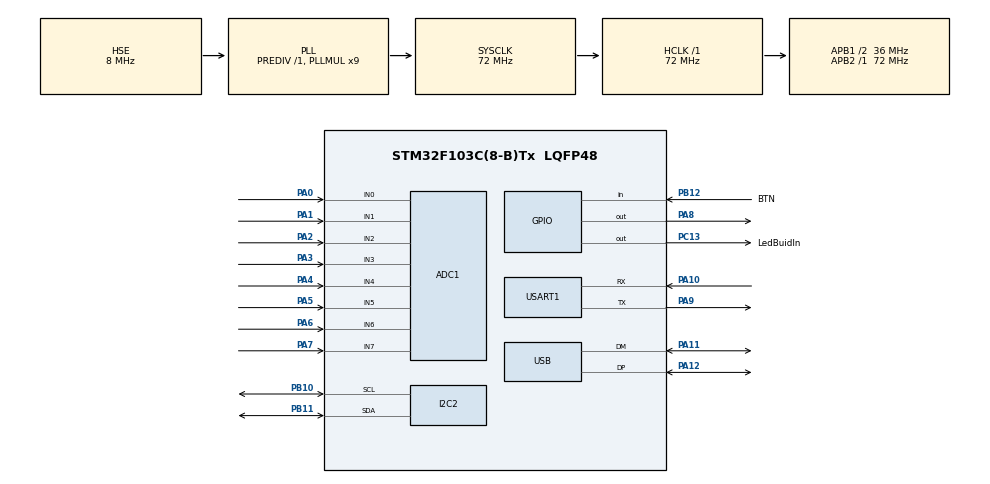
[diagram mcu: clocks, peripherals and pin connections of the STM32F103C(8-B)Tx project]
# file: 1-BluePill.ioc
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ADC1.Channel-0\#ChannelRegularConversion=ADC_CHANNEL_0
ADC1.Channel-1\#ChannelRegularConversion=ADC_CHANNEL_1
ADC1.Channel-2\#ChannelRegularConversion=ADC_CHANNEL_2
ADC1.Channel-3\#ChannelRegularConversion=ADC_CHANNEL_3
ADC1.Channel-4\#ChannelRegularConversion=ADC_CHANNEL_4
ADC1.Channel-5\#ChannelRegularConversion=ADC_CHANNEL_5
ADC1.Channel-6\#ChannelRegularConversion=ADC_CHANNEL_6
ADC1.Channel-7\#ChannelRegularConversion=ADC_CHANNEL_7
ADC1.NbrOfConversion=8
ADC1.NbrOfConversionFlag=1
ADC1.Rank-0\#ChannelRegularConversion=1
ADC1.Rank-1\#ChannelRegularConversion=2
ADC1.Rank-2\#ChannelRegularConversion=3
ADC1.Rank-3\#ChannelRegularConversion=4
ADC1.Rank-4\#ChannelRegularConversion=5
ADC1.Rank-5\#ChannelRegularConversion=6
ADC1.Rank-6\#ChannelRegularConversion=7
ADC1.Rank-7\#ChannelRegularConversion=8
ADC1.SamplingTime-0\#ChannelRegularConversion=ADC_SAMPLETIME_13CYCLES_5
ADC1.SamplingTime-1\#ChannelRegularConversion=ADC_SAMPLETIME_13CYCLES_5
ADC1.SamplingTime-2\#ChannelRegularConversion=ADC_SAMPLETIME_13CYCLES_5
ADC1.SamplingTime-3\#ChannelRegularConversion=ADC_SAMPLETIME_13CYCLES_5
ADC1.SamplingTime-4\#ChannelRegularConversion=ADC_SAMPLETIME_13CYCLES_5
ADC1.SamplingTime-5\#ChannelRegularConversion=ADC_SAMPLETIME_13CYCLES_5
ADC1.SamplingTime-6\#ChannelRegularConversion=ADC_SAMPLETIME_13CYCLES_5
ADC1.SamplingTime-7\#ChannelRegularConversion=ADC_SAMPLETIME_13CYCLES_5
ADC1.master=1
Dma.ADC1.0.Direction=DMA_PERIPH_TO_MEMORY
Dma.ADC1.0.Instance=DMA1_Channel1
Dma.ADC1.0.MemDataAlignment=DMA_MDATAALIGN_HALFWORD
Dma.ADC1.0.MemInc=DMA_MINC_ENABLE
Dma.ADC1.0.Mode=DMA_NORMAL
Dma.ADC1.0.PeriphDataAlignment=DMA_PDATAALIGN_HALFWORD
Dma.ADC1.0.PeriphInc=DMA_PINC_DISABLE
Dma.ADC1.0.Priority=DMA_PRIORITY_LOW
Dma.Request0=ADC1
Mcu.Family=STM32F1
Mcu.Name=STM32F103C(8-B)Tx
Mcu.Package=LQFP48
NVIC.DMA1_Channel1_IRQn=true\:0\:0\:false\:false\:true\:false\:true\:true
NVIC.PriorityGroup=NVIC_PRIORITYGROUP_4
NVIC.TIM1_UP_IRQn=true\:0\:0\:false\:false\:true\:true\:true\:true
NVIC.USART1_IRQn=true\:0\:0\:false\:false\:true\:true\:true\:true
NVIC.USB_LP_CAN1_RX0_IRQn=true\:0\:0\:false\:false\:true\:false\:true\:true
PA0-WKUP.Signal=ADCx_IN0
PA1.Signal=ADCx_IN1
PA10.Mode=Asynchronous
PA10.Signal=USART1_RX
PA11.Mode=Device
PA11.Signal=USB_DM
PA12.Mode=Device
PA12.Signal=USB_DP
PA13.Mode=Serial_Wire
PA13.Signal=SYS_JTMS-SWDIO
PA14.Mode=Serial_Wire
PA14.Signal=SYS_JTCK-SWCLK
PA2.Signal=ADCx_IN2
PA3.Signal=ADCx_IN3
PA4.Signal=ADCx_IN4
PA5.Signal=ADCx_IN5
PA6.Signal=ADCx_IN6
PA7.Signal=ADCx_IN7
PA8.Signal=GPIO_Output
PA9.Mode=Asynchronous
PA9.Signal=USART1_TX
PB10.Mode=I2C
PB10.Signal=I2C2_SCL
PB11.Mode=I2C
PB11.Signal=I2C2_SDA
PB12.GPIO_Label=BTN
PB12.GPIO_PuPd=GPIO_PULLUP
PB12.Signal=GPIO_Input
PB6.Signal=S_TIM4_CH1
PB7.Signal=S_TIM4_CH2
PB8.Signal=S_TIM4_CH3
PB9.Signal=S_TIM4_CH4
PC13-TAMPER-RTC.GPIO_Label=LedBuidIn
PC13-TAMPER-RTC.PinState=GPIO_PIN_SET
PC13-TAMPER-RTC.Signal=GPIO_Output
PC14-OSC32_IN.Mode=LSE-External-Oscillator
PC14-OSC32_IN.Signal=RCC_OSC32_IN
PC15-OSC32_OUT.Mode=LSE-External-Oscillator
PC15-OSC32_OUT.Signal=RCC_OSC32_OUT
PD0-OSC_IN.Mode=HSE-External-Oscillator
PD0-OSC_IN.Signal=RCC_OSC_IN
PD1-OSC_OUT.Mode=HSE-External-Oscillator
PD1-OSC_OUT.Signal=RCC_OSC_OUT
ProjectManager.HeapSize=0x200
ProjectManager.StackSize=0x400
ProjectManager.TargetToolchain=STM32CubeIDE
RCC.ADCPresc=RCC_ADCPCLK2_DIV6
RCC.AHBFreq_Value=72000000
RCC.APB1CLKDivider=RCC_HCLK_DIV2
RCC.APB1Freq_Value=36000000
RCC.APB1TimFreq_Value=72000000
RCC.APB2Freq_Value=72000000
RCC.APB2TimFreq_Value=72000000
RCC.HCLKFreq_Value=72000000
RCC.PLLMUL=RCC_PLL_MUL9
RCC.PLLSourceVirtual=RCC_PLLSOURCE_HSE
RCC.SYSCLKFreq_VALUE=72000000
RCC.SYSCLKSource=RCC_SYSCLKSOURCE_PLLCLK
RCC.USBFreq_Value=48000000
RCC.USBPrescaler=RCC_USBCLKSOURCE_PLL_DIV1_5
SH.ADCx_IN0.0=ADC1_IN0,IN0
SH.ADCx_IN1.0=ADC1_IN1,IN1
SH.ADCx_IN2.0=ADC1_IN2,IN2
SH.ADCx_IN3.0=ADC1_IN3,IN3
SH.ADCx_IN4.0=ADC1_IN4,IN4
SH.ADCx_IN5.0=ADC1_IN5,IN5
SH.ADCx_IN6.0=ADC1_IN6,IN6
SH.ADCx_IN7.0=ADC1_IN7,IN7
SH.S_TIM4_CH1.0=TIM4_CH1
SH.S_TIM4_CH2.0=TIM4_CH2
SH.S_TIM4_CH3.0=TIM4_CH3
SH.S_TIM4_CH4.0=TIM4_CH4
TIM1.Period=249
TIM1.Prescaler=71
TIM4.Period=12800
TIM4.Prescaler=4
USART1.VirtualMode=VM_ASYNC
USB_DEVICE.APP_RX_DATA_SIZE=256
USB_DEVICE.APP_TX_DATA_SIZE=256
USB_DEVICE.CLASS_NAME_FS=CDC
USB_DEVICE.PID_CDC_FS=0x5740
USB_DEVICE.VirtualMode=Cdc
USB_DEVICE.VirtualModeFS=Cdc_FS
VP_TIM1_VS_ClockSourceINT.Mode=Internal
VP_TIM4_VS_ClockSourceINT.Mode=Internal
VP_USB_DEVICE_VS_USB_DEVICE_CDC_FS.Mode=CDC_FS
board=custom

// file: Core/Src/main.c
/* USER CODE BEGIN Header */
/**
  ******************************************************************************
  * @file           : main.c
  * @brief          : Main program body
  ******************************************************************************
  * @attention
  *
  * Copyright (c) 2024 STMicroelectronics.
  * All rights reserved.
  *
  * This software is licensed under terms that can be found in the LICENSE file
  * in the root directory of this software component.
  * If no LICENSE file comes with this software, it is provided AS-IS.
  *
  ******************************************************************************
  */
/* USER CODE END Header */
#include "main.h"
#include "usb_device.h"

/* USER CODE BEGIN Includes */
#include "usbd_cdc_if.h"
/* USER CODE END Includes */

/* USER CODE BEGIN PTD */
typedef enum{
    START,
    HEADER_1,
    HEADER_2,
    HEADER_3,
    NBYTES,
    TOKEN,
    PAYLOAD
}_eProtocolo;

_eProtocolo estadoProtocolo;

typedef enum{
       ACK=0x0D,
       ALIVE=0xF0,
//       FIRMWARE=0xF1,
//       SET_LEDS=0xF2,
       IR_SENSOR=0xA0,
//       MOTOR_ACTION=0xA1,
//       SERVO_ACTION=0xA2,
//       ULTRA_SONIC=0xA3,
//       HORQUILLA=0xA4,
//       STARTCONFIG=0xEE,
       OTHERS
   }_eID;

typedef struct{
    uint8_t timeOut;         //!< TiemOut para reiniciar la máquina si se interrumpe la comunicación
    uint8_t indexStart; 	 ///////////////////// AGREGAR ///////////////////////////////////
    uint8_t cheksumRx;       //!< Cheksumm RX
    uint8_t cheksumtx;       //!< Cheksumm Tx
    uint8_t indexWriteRx;    //!< Indice de escritura del buffer circular de recepción
    uint8_t indexReadRx;     //!< Indice de lectura del buffer circular de recepción
    uint8_t indexWriteTx;    //!< Indice de escritura del buffer circular de transmisión
    uint8_t indexReadTx;     //!< Indice de lectura del buffer circular de transmisión
    uint8_t bufferRx[256];   //!< Buffer circular de recepción
    uint8_t bufferTx[256];   //!< Buffer circular de transmisión
    // uint8_t payload[32];     //!< Buffer para el Payload de datos recibidos
}_sDato ;

_sDato datosComProtocol;

typedef struct {
	uint8_t F250US: 1;
    uint8_t F10MS: 	1;
    uint8_t F100MS:	1;
    uint8_t F500MS:	1;
    uint8_t F1SEG: 	1;
    uint8_t bit5: 	1;
    uint8_t bit6: 	1;
    uint8_t bit7: 	1;
}_sFlags1;

_sFlags1 flags1;

typedef struct{
	uint8_t		count;
	uint16_t 	sensor0[256];
	uint16_t 	sensor1[256];
	uint16_t 	sensor2[256];
	uint16_t 	sensor3[256];
	uint16_t 	sensor4[256];
	uint16_t 	sensor5[256];
	uint16_t 	sensor6[256];
	uint16_t 	sensor7[256];
	uint32_t 	sumatoriaS0;
	uint32_t 	sumatoriaS1;
	uint32_t 	sumatoriaS2;
	uint32_t 	sumatoriaS3;
	uint32_t 	sumatoriaS4;
	uint32_t 	sumatoriaS5;
	uint32_t 	sumatoriaS6;
	uint32_t 	sumatoriaS7;
	uint16_t	promS0;
	uint16_t	promS1;
	uint16_t	promS2;
	uint16_t	promS3;
	uint16_t	promS4;
	uint16_t	promS5;
	uint16_t	promS6;
	uint16_t	promS7;
}_sIR;

_sIR ir;	//genero un array de mi struct para tener un historial ciclico de lecturas del censor IR

typedef union {
    int32_t i32;
    uint32_t ui32;
    uint16_t ui16[2];
    uint8_t ui8[4];
}_udat;

_udat myWord;

/* USER CODE END PTD */

/* USER CODE BEGIN PD */
#define TIME10ms		40
#define TIME100ms		10
#define TIME500ms		50

/* USER CODE END PD */

ADC_HandleTypeDef hadc1;
DMA_HandleTypeDef hdma_adc1;

I2C_HandleTypeDef hi2c2;

TIM_HandleTypeDef htim1;
TIM_HandleTypeDef htim4;

UART_HandleTypeDef huart1;

/* USER CODE BEGIN PV */
	uint8_t BTNstatus	= 0;
	uint8_t BTNcount	= 0;
	uint8_t t10ms	= TIME10ms;
	uint8_t t100ms 	= TIME100ms;
	uint8_t t500ms 	= TIME500ms;
	uint8_t	t1seg	= 100;
	uint8_t lastIR 	= 0;

//	uint8_t rx[256],ir,iw;

	uint8_t rxUSBData, newData;

	uint16_t bufADC[8];

	const uint32_t varEEPROM __attribute__((__section__(".configeeprom"), used));

	/*Pasos:
	 * 1. Hacer un HAL_FLASH_Unlock();
	 * 2. Configurar la estructura de Erase
	 * 3. Ejecutar HALL_FLASH_Erase
	 * 4. Pasar toda la info con HAL_FLASH_Program
	 * 5. Hacer un HAL_FLASH_Lock();
	 * */
/* USER CODE END PV */

void SystemClock_Config(void);
static void MX_GPIO_Init(void);
static void MX_DMA_Init(void);
static void MX_USART1_UART_Init(void);
static void MX_ADC1_Init(void);
static void MX_I2C2_Init(void);
static void MX_TIM4_Init(void);
static void MX_TIM1_Init(void);
/* USER CODE BEGIN PFP */
void onDataRx(void);
void decodeProtocol(_sDato *);
void decodeData(_sDato *);
void encodeData(uint8_t id);
void sendData(void);

void USBReceive(uint8_t *but, uint16_t len);

/* USER CODE END PFP */

/* USER CODE BEGIN 0 */

void HAL_ADC_ConvCpltCallback(ADC_HandleTypeDef* hadc){
//	HAL_ADC_GetValue(hadc);
	//Guarda en un Buffer los estados anteriores del IR
	ir.sensor0[ir.count] = bufADC[0];
	ir.sensor1[ir.count] = bufADC[1];
	ir.sensor2[ir.count] = bufADC[2];
	ir.sensor3[ir.count] = bufADC[3];
	ir.sensor4[ir.count] = bufADC[4];
	ir.sensor5[ir.count] = bufADC[5];
	ir.sensor6[ir.count] = bufADC[6];
	ir.sensor7[ir.count] = bufADC[7];

	//Acumulador de la Sumatoria del Promedio Movil
	ir.sumatoriaS0 += bufADC[0];
	ir.sumatoriaS1 += bufADC[1];
	ir.sumatoriaS2 += bufADC[2];
	ir.sumatoriaS3 += bufADC[3];
	ir.sumatoriaS4 += bufADC[4];
	ir.sumatoriaS5 += bufADC[5];
	ir.sumatoriaS6 += bufADC[6];
	ir.sumatoriaS7 += bufADC[7];

	//Resta el valor que queda fuera de la ventana del Promedio
	myWord.ui8[0]= ir.count - 39;	//Aux del indice Inferior de la ventana

	ir.sumatoriaS0 -= ir.sensor0[myWord.ui8[0]];
	ir.sumatoriaS1 -= ir.sensor1[myWord.ui8[0]];
	ir.sumatoriaS2 -= ir.sensor2[myWord.ui8[0]];
	ir.sumatoriaS3 -= ir.sensor3[myWord.ui8[0]];
	ir.sumatoriaS4 -= ir.sensor4[myWord.ui8[0]];
	ir.sumatoriaS5 -= ir.sensor5[myWord.ui8[0]];
	ir.sumatoriaS6 -= ir.sensor6[myWord.ui8[0]];
	ir.sumatoriaS7 -= ir.sensor7[myWord.ui8[0]];

	ir.count++;
//	ir.sensor0[lastIR] = bufADC[0];//buffer circular para la lectura de datos de los sensores IR
//	ir.sensor1[lastIR] = bufADC[1];
//	ir.sensor2[lastIR] = bufADC[2];
//	ir.sensor3[lastIR] = bufADC[3];
//	ir.sensor4[lastIR] = bufADC[4];
//	ir.sensor5[lastIR] = bufADC[5];
//	ir.sensor6[lastIR] = bufADC[6];
//	ir.sensor7[lastIR] = bufADC[7];
//	if (lastIR == 63){
//		lastIR = 0;
//	}else{
//		lastIR++;
//	}

}

void HAL_TIM_PeriodElapsedCallback(TIM_HandleTypeDef *htim){
	if (htim ->Instance == TIM1) {	//Entra cada 250us, 1ms= x4, 10ms= x40, 100ms= x400
		flags1.F250US = 1;

		t10ms--;

		if(t10ms == 0){
			flags1.F10MS = 1;
			t10ms = TIME10ms;

			t100ms--;
			t500ms--;
			t1seg--;
		}

		if(t100ms == 0){
			flags1.F100MS = 1;
			t100ms = TIME100ms;
		}

		if(t500ms == 0){
			flags1.F500MS = 1;
			t500ms = TIME500ms;
		}

		if (t1seg == 0) {
			flags1.F1SEG = 1;
			t1seg = 100;
		}

	}
}

/*=============>Recepción de datos desde USART<=============
 * Interrupción que es llamada cuando se produce una recepción de datos.
 * Cargo los datos recibidos al Buffer de Recepción
 * */
void HAL_UART_RxCpltCallback(UART_HandleTypeDef *huart){
	if(huart ->Instance == USART1){
//		iw++;
		HAL_UART_Receive_IT(&huart1, &datosComProtocol.bufferRx[datosComProtocol.indexWriteRx++], 1);
		//HAL_UART_Receive_IT(&huart1, &rx[iw], 1);
	}
}

void USBReceive(uint8_t *buf, uint16_t len){
//	rxUSBData = buf[0];
//	rxUSBData = len;
//	newData = 1;
	for (int i = 0; i < len; ++i) {
		datosComProtocol.bufferRx[datosComProtocol.indexWriteRx] = buf[i];
	}

}

/*'<' header
//byte1
//byte2
//byte3
//byte4
//checksum = suma de todos los bytes transmitidos
//'>' tail

//  4      1      1    1    N     1
//HEADER NBYTES TOKEN ID PAYLOAD CKS

//HEADER 4 bytes
//'U' 'N' 'E' 'R'

//NBYTES = ID+PAYLOAD+CKS = 2 + nbytes de payload

//TOKEN: ':'

//CKS: xor de todos los bytes enviados menos el CKS
*/
void decodeProtocol(_sDato *datosCom){
	static uint8_t nBytes = 0;
	while (datosCom->indexReadRx != datosCom->indexWriteRx){
		switch (estadoProtocolo){
		case START:
			if (datosCom->bufferRx[datosCom->indexReadRx++]=='U') {
				estadoProtocolo = HEADER_1;
				datosCom->cheksumRx = 0;
			}
			break;
		case HEADER_1:
			if (datosCom->bufferRx[datosCom->indexReadRx++]=='N')
			   {
				   estadoProtocolo=HEADER_2;
			   }
			else{
				datosCom->indexReadRx--;
				estadoProtocolo=START;
			}
			break;
		case HEADER_2:
			if (datosCom->bufferRx[datosCom->indexReadRx++]=='E')
			{
				estadoProtocolo=HEADER_3;
			}
			else{
				datosCom->indexReadRx--;
			   estadoProtocolo=START;
			}
			break;
		case HEADER_3:
			if (datosCom->bufferRx[datosCom->indexReadRx++]=='R')
				{
					estadoProtocolo=NBYTES;
				}
			else{
				datosCom->indexReadRx--;
			   estadoProtocolo=START;
			}
			break;
		case NBYTES:
			datosCom->indexStart=datosCom->indexReadRx;
			nBytes=datosCom->bufferRx[datosCom->indexReadRx++];
			estadoProtocolo=TOKEN;
			break;
		case TOKEN:
			if (datosCom->bufferRx[datosCom->indexReadRx++]==':'){
			   estadoProtocolo=PAYLOAD;
				datosCom->cheksumRx ='U'^'N'^'E'^'R'^ nBytes^':';
				// datosCom->payload[0]=nBytes;
				// indice=1;
			}
			else{
				datosCom->indexReadRx--;
				estadoProtocolo=START;
			}
			break;
		case PAYLOAD:
			if (nBytes>1){
				// datosCom->payload[indice++]=datosCom->bufferRx[datosCom->indexReadRx];
				datosCom->cheksumRx ^= datosCom->bufferRx[datosCom->indexReadRx++];
			}
			nBytes--;
			if(nBytes<=0){
				estadoProtocolo=START;
				if(datosCom->cheksumRx == datosCom->bufferRx[datosCom->indexReadRx]){
					decodeData(datosCom);
				}
			}
			break;
		default:
			estadoProtocolo=START;
			break;
		}
	}

}

void decodeData(_sDato *datosCom){
	#define POSID   2
    #define POSDATA 3
	uint8_t auxBuffTx[50], indiceAux=0, cheksum;
	auxBuffTx[indiceAux++]='U';
	auxBuffTx[indiceAux++]='N';
	auxBuffTx[indiceAux++]='E';
	auxBuffTx[indiceAux++]='R';
	auxBuffTx[indiceAux++]= 0;
	auxBuffTx[indiceAux++]=':';

	switch (datosCom->bufferRx[datosCom->indexStart+POSID]) {
		case ALIVE:
			auxBuffTx[indiceAux++]=ALIVE;
			auxBuffTx[indiceAux++]=ACK;
			auxBuffTx[NBYTES]=0x03;
			break;
		default:
			auxBuffTx[indiceAux++]=0xDD;
			auxBuffTx[NBYTES]=0x02;
			break;
	}

	cheksum=0;
	for(uint8_t a=0 ;a < indiceAux ;a++)
	{
		cheksum ^= auxBuffTx[a];
		datosCom->bufferTx[datosComProtocol.indexWriteTx++]=auxBuffTx[a];
	}
		datosCom->bufferTx[datosComProtocol.indexWriteTx++]=cheksum;
//		CDC_Transmit_FS(datosCom->bufferTx, auxBuffTx[NBYTES]+6);

}

void encodeData(uint8_t id){
	uint8_t auxBuffTx[50], indiceAux=0, cheksum;
	auxBuffTx[indiceAux++]='U';
	auxBuffTx[indiceAux++]='N';
	auxBuffTx[indiceAux++]='E';
	auxBuffTx[indiceAux++]='R';
	auxBuffTx[indiceAux++]=0;
	auxBuffTx[indiceAux++]=':';

	switch (id) {
	case IR_SENSOR:
		auxBuffTx[indiceAux++]=IR_SENSOR;
		auxBuffTx[NBYTES]=0x12; //decimal= 18

		//myWord.ui32 = ir.sensor1[ir.count];
		myWord.ui32 = ir.promS0;
		auxBuffTx[indiceAux++] = myWord.ui8[0];
		auxBuffTx[indiceAux++] = myWord.ui8[1];

		//myWord.ui16[0] = ir.sensor1;
		myWord.ui32 = ir.promS1;
		auxBuffTx[indiceAux++] = myWord.ui8[0];
		auxBuffTx[indiceAux++] = myWord.ui8[1];

		//myWord.ui32 = ir.sensor2[ir.count];
		myWord.ui32 = ir.promS2;
		auxBuffTx[indiceAux++] = myWord.ui8[0];
		auxBuffTx[indiceAux++] = myWord.ui8[1];

		//myWord.ui32 = ir.sensor3[ir.count];
		myWord.ui32 = ir.promS3;
		auxBuffTx[indiceAux++] = myWord.ui8[0];
		auxBuffTx[indiceAux++] = myWord.ui8[1];

		//myWord.ui32 = ir.sensor4[ir.count];
		myWord.ui32 = ir.promS4;
		auxBuffTx[indiceAux++] = myWord.ui8[0];
		auxBuffTx[indiceAux++] = myWord.ui8[1];

		//myWord.ui32 = ir.sensor5[ir.count];
		myWord.ui32 = ir.promS5;
		auxBuffTx[indiceAux++] = myWord.ui8[0];
		auxBuffTx[indiceAux++] = myWord.ui8[1];

		//myWord.ui32 = ir.sensor6[ir.count];
		myWord.ui32 = ir.promS6;
		auxBuffTx[indiceAux++] = myWord.ui8[0];
		auxBuffTx[indiceAux++] = myWord.ui8[1];

		//myWord.ui32 = ir.sensor7[ir.count];
		myWord.ui32 = ir.promS7;
		auxBuffTx[indiceAux++] = myWord.ui8[0];
		auxBuffTx[indiceAux++] = myWord.ui8[1];

		break;
		default:
			auxBuffTx[indiceAux++]=0xDD;
			auxBuffTx[NBYTES]=0x02;
			break;
	}
	cheksum=0;
	for(uint8_t a=0 ;a < indiceAux ;a++)
	{
		cheksum ^= auxBuffTx[a];
		datosComProtocol.bufferTx[datosComProtocol.indexWriteTx++]=auxBuffTx[a];
	}
		datosComProtocol.bufferTx[datosComProtocol.indexWriteTx++]=cheksum;
}

/* USER CODE END 0 */

int main(void)
{

  /* MCU Configuration--------------------------------------------------------*/

  /* Reset of all peripherals, Initializes the Flash interface and the Systick. */
  HAL_Init();

  /* Configure the system clock */
  SystemClock_Config();

  /* USER CODE BEGIN SysInit */
//HAL_TIM_Base_Start(&htim4);
//HAL_TIM_PWM_Start(&htim4, TIM_CHANNEL_1);
//HAL_TIM_PWM_Start(&htim4, TIM_CHANNEL_2);
//HAL_TIM_PWM_Start(&htim4, TIM_CHANNEL_3);
//HAL_TIM_PWM_Start(&htim4, TIM_CHANNEL_4);
//_HAL_TIM_SET_COMPARE(&htim4, TIM_CHANNEL_1, 0);
//_HAL_TIM_SET_COMPARE(&htim4, TIM_CHANNEL_2, 0);
//_HAL_TIM_SET_COMPARE(&htim4, TIM_CHANNEL_3, 0);
//_HAL_TIM_SET_COMPARE(&htim4, TIM_CHANNEL_4, 0);

  /* USER CODE END SysInit */

  /* Initialize all configured peripherals */
  MX_GPIO_Init();
  MX_DMA_Init();
  MX_USART1_UART_Init();
  MX_USB_DEVICE_Init();
  MX_ADC1_Init();
  MX_I2C2_Init();
  MX_TIM4_Init();
  MX_TIM1_Init();
  /* USER CODE BEGIN 2 */
  HAL_TIM_Base_Start_IT(&htim1);
  CDC_AttachRxData(USBReceive);

  datosComProtocol.indexWriteRx = 0;		//Init indice recepión del Buffer de Recepción
  datosComProtocol.indexReadRx = 0;			//Init indice de lectura del Buffer de Recepción
  datosComProtocol.indexWriteTx = 0;
  datosComProtocol.indexReadTx = 0;
//  ir=0,iw=0;
  ir.count = 0;

  HAL_UART_Receive_IT(&huart1, &datosComProtocol.bufferRx[datosComProtocol.indexWriteRx], 1);

  HAL_ADC_Start_DMA(&hadc1, (uint32_t *)bufADC, 8);

  /* USER CODE END 2 */

  /* Infinite loop */
  /* USER CODE BEGIN WHILE */
  HAL_GPIO_WritePin(LedBuidIn_GPIO_Port, LedBuidIn_Pin, 0);
  HAL_Delay(300);
  HAL_GPIO_WritePin(LedBuidIn_GPIO_Port, LedBuidIn_Pin, 1);
  HAL_Delay(300);
  HAL_GPIO_WritePin(LedBuidIn_GPIO_Port, LedBuidIn_Pin, 0);
  HAL_Delay(300);
  HAL_GPIO_WritePin(LedBuidIn_GPIO_Port, LedBuidIn_Pin, 1);
  HAL_Delay(300);
  HAL_GPIO_WritePin(LedBuidIn_GPIO_Port, LedBuidIn_Pin, 0);
  HAL_Delay(300);
  HAL_GPIO_WritePin(LedBuidIn_GPIO_Port, LedBuidIn_Pin, 1);

//  uint8_t transComplete  = 0;

  uint8_t lengthTx;

  memset(&ir.sensor1,'\0',sizeof(ir.sensor0));

  while (1)
  {
    /* USER CODE END WHILE */

    /* USER CODE BEGIN 3 */
	  if (flags1.F250US == 1){
		  flags1.F250US = 0;
		  HAL_ADC_Start_DMA(&hadc1, (uint32_t *)bufADC, 8);
	  }

	  if (flags1.F10MS == 1){
		  flags1.F10MS = 0;

		  //Cálculo del Promedio de la Ventana Movil
		  ir.promS0 = (uint16_t)(ir.sumatoriaS0 / 40);
		  ir.promS1 = (uint16_t)(ir.sumatoriaS1 / 40);
		  ir.promS2 = (uint16_t)(ir.sumatoriaS2 / 40);
		  ir.promS3 = (uint16_t)(ir.sumatoriaS3 / 40);
		  ir.promS4 = (uint16_t)(ir.sumatoriaS4 / 40);
		  ir.promS5 = (uint16_t)(ir.sumatoriaS5 / 40);
		  ir.promS6 = (uint16_t)(ir.sumatoriaS6 / 40);
		  ir.promS7 = (uint16_t)(ir.sumatoriaS7 / 40);

	  }

	  if(flags1.F100MS==1){
		  flags1.F100MS = 0;
//		  HAL_ADC_Start_DMA(&hadc1, (uint32_t *)bufADC, 8);
	  }

	  if (flags1.F500MS == 1) {
		  flags1.F500MS = 0;
		  HAL_GPIO_TogglePin(LedBuidIn_GPIO_Port, LedBuidIn_Pin);
	  }

	  if (flags1.F1SEG == 1) {
		  flags1.F1SEG = 0;
		  encodeData(IR_SENSOR);

	  }

//	  if(newData){
//		  if(CDC_Transmit_FS(&rxUSBData, 1) == USBD_OK){
//			  newData = 0;
//		  }
//	  }

	  if(datosComProtocol.indexReadRx != datosComProtocol.indexWriteRx){
		  decodeProtocol(&datosComProtocol);
	  }

	  if(datosComProtocol.indexReadTx != datosComProtocol.indexWriteTx){
		  lengthTx = datosComProtocol.indexWriteTx - datosComProtocol.indexReadTx;
		  if((CDC_Transmit_FS(&datosComProtocol.bufferTx[datosComProtocol.indexReadTx], lengthTx) == USBD_OK))
			  datosComProtocol.indexReadTx++;
	  }

//	  if (huart1.gState == HAL_UART_STATE_READY) {
//		  HAL_UART_Transmit_IT(&huart1, &datosComProtocol.bufferTx[datosComProtocol.indexReadTx++], 1);
//	  }

  }
  /* USER CODE END 3 */
}

void SystemClock_Config(void)
{
  RCC_OscInitTypeDef RCC_OscInitStruct = {0};
  RCC_ClkInitTypeDef RCC_ClkInitStruct = {0};
  RCC_PeriphCLKInitTypeDef PeriphClkInit = {0};

  /** Initializes the RCC Oscillators according to the specified parameters
  * in the RCC_OscInitTypeDef structure.
  */
  RCC_OscInitStruct.OscillatorType = RCC_OSCILLATORTYPE_HSE;
  RCC_OscInitStruct.HSEState = RCC_HSE_ON;
  RCC_OscInitStruct.HSEPredivValue = RCC_HSE_PREDIV_DIV1;
  RCC_OscInitStruct.HSIState = RCC_HSI_ON;
  RCC_OscInitStruct.PLL.PLLState = RCC_PLL_ON;
  RCC_OscInitStruct.PLL.PLLSource = RCC_PLLSOURCE_HSE;
  RCC_OscInitStruct.PLL.PLLMUL = RCC_PLL_MUL9;
  if (HAL_RCC_OscConfig(&RCC_OscInitStruct) != HAL_OK)
  {
    Error_Handler();
  }

  /** Initializes the CPU, AHB and APB buses clocks
  */
  RCC_ClkInitStruct.ClockType = RCC_CLOCKTYPE_HCLK|RCC_CLOCKTYPE_SYSCLK
                              |RCC_CLOCKTYPE_PCLK1|RCC_CLOCKTYPE_PCLK2;
  RCC_ClkInitStruct.SYSCLKSource = RCC_SYSCLKSOURCE_PLLCLK;
  RCC_ClkInitStruct.AHBCLKDivider = RCC_SYSCLK_DIV1;
  RCC_ClkInitStruct.APB1CLKDivider = RCC_HCLK_DIV2;
  RCC_ClkInitStruct.APB2CLKDivider = RCC_HCLK_DIV1;

  if (HAL_RCC_ClockConfig(&RCC_ClkInitStruct, FLASH_LATENCY_2) != HAL_OK)
  {
    Error_Handler();
  }
  PeriphClkInit.PeriphClockSelection = RCC_PERIPHCLK_ADC|RCC_PERIPHCLK_USB;
  PeriphClkInit.AdcClockSelection = RCC_ADCPCLK2_DIV6;
  PeriphClkInit.UsbClockSelection = RCC_USBCLKSOURCE_PLL_DIV1_5;
  if (HAL_RCCEx_PeriphCLKConfig(&PeriphClkInit) != HAL_OK)
  {
    Error_Handler();
  }
}

static void MX_ADC1_Init(void)
{

  ADC_ChannelConfTypeDef sConfig = {0};

  /** Common config
  */
  hadc1.Instance = ADC1;
  hadc1.Init.ScanConvMode = ADC_SCAN_ENABLE;
  hadc1.Init.ContinuousConvMode = DISABLE;
  hadc1.Init.DiscontinuousConvMode = DISABLE;
  hadc1.Init.ExternalTrigConv = ADC_SOFTWARE_START;
  hadc1.Init.DataAlign = ADC_DATAALIGN_RIGHT;
  hadc1.Init.NbrOfConversion = 8;
  if (HAL_ADC_Init(&hadc1) != HAL_OK)
  {
    Error_Handler();
  }

  /** Configure Regular Channel
  */
  sConfig.Channel = ADC_CHANNEL_0;
  sConfig.Rank = ADC_REGULAR_RANK_1;
  sConfig.SamplingTime = ADC_SAMPLETIME_13CYCLES_5;
  if (HAL_ADC_ConfigChannel(&hadc1, &sConfig) != HAL_OK)
  {
    Error_Handler();
  }

  /** Configure Regular Channel
  */
  sConfig.Channel = ADC_CHANNEL_1;
  sConfig.Rank = ADC_REGULAR_RANK_2;
  if (HAL_ADC_ConfigChannel(&hadc1, &sConfig) != HAL_OK)
  {
    Error_Handler();
  }

  /** Configure Regular Channel
  */
  sConfig.Channel = ADC_CHANNEL_2;
  sConfig.Rank = ADC_REGULAR_RANK_3;
  if (HAL_ADC_ConfigChannel(&hadc1, &sConfig) != HAL_OK)
  {
    Error_Handler();
  }

  /** Configure Regular Channel
  */
  sConfig.Channel = ADC_CHANNEL_3;
  sConfig.Rank = ADC_REGULAR_RANK_4;
  if (HAL_ADC_ConfigChannel(&hadc1, &sConfig) != HAL_OK)
  {
    Error_Handler();
  }

  /** Configure Regular Channel
  */
  sConfig.Channel = ADC_CHANNEL_4;
  sConfig.Rank = ADC_REGULAR_RANK_5;
  if (HAL_ADC_ConfigChannel(&hadc1, &sConfig) != HAL_OK)
  {
    Error_Handler();
  }

  /** Configure Regular Channel
  */
  sConfig.Channel = ADC_CHANNEL_5;
  sConfig.Rank = ADC_REGULAR_RANK_6;
  if (HAL_ADC_ConfigChannel(&hadc1, &sConfig) != HAL_OK)
  {
    Error_Handler();
  }

  /** Configure Regular Channel
  */
  sConfig.Channel = ADC_CHANNEL_6;
  sConfig.Rank = ADC_REGULAR_RANK_7;
  if (HAL_ADC_ConfigChannel(&hadc1, &sConfig) != HAL_OK)
  {
    Error_Handler();
  }

  /** Configure Regular Channel
  */
  sConfig.Channel = ADC_CHANNEL_7;
  sConfig.Rank = ADC_REGULAR_RANK_8;
  if (HAL_ADC_ConfigChannel(&hadc1, &sConfig) != HAL_OK)
  {
    Error_Handler();
  }

}

static void MX_I2C2_Init(void)
{

  hi2c2.Instance = I2C2;
  hi2c2.Init.ClockSpeed = 100000;
  hi2c2.Init.DutyCycle = I2C_DUTYCYCLE_2;
  hi2c2.Init.OwnAddress1 = 0;
  hi2c2.Init.AddressingMode = I2C_ADDRESSINGMODE_7BIT;
  hi2c2.Init.DualAddressMode = I2C_DUALADDRESS_DISABLE;
  hi2c2.Init.OwnAddress2 = 0;
  hi2c2.Init.GeneralCallMode = I2C_GENERALCALL_DISABLE;
  hi2c2.Init.NoStretchMode = I2C_NOSTRETCH_DISABLE;
  if (HAL_I2C_Init(&hi2c2) != HAL_OK)
  {
    Error_Handler();
  }

}

static void MX_TIM1_Init(void)
{

  TIM_ClockConfigTypeDef sClockSourceConfig = {0};
  TIM_MasterConfigTypeDef sMasterConfig = {0};

  htim1.Instance = TIM1;
  htim1.Init.Prescaler = 71;
  htim1.Init.CounterMode = TIM_COUNTERMODE_UP;
  htim1.Init.Period = 249;
  htim1.Init.ClockDivision = TIM_CLOCKDIVISION_DIV1;
  htim1.Init.RepetitionCounter = 0;
  htim1.Init.AutoReloadPreload = TIM_AUTORELOAD_PRELOAD_DISABLE;
  if (HAL_TIM_Base_Init(&htim1) != HAL_OK)
  {
    Error_Handler();
  }
  sClockSourceConfig.ClockSource = TIM_CLOCKSOURCE_INTERNAL;
  if (HAL_TIM_ConfigClockSource(&htim1, &sClockSourceConfig) != HAL_OK)
  {
    Error_Handler();
  }
  sMasterConfig.MasterOutputTrigger = TIM_TRGO_RESET;
  sMasterConfig.MasterSlaveMode = TIM_MASTERSLAVEMODE_DISABLE;
  if (HAL_TIMEx_MasterConfigSynchronization(&htim1, &sMasterConfig) != HAL_OK)
  {
    Error_Handler();
  }

}

static void MX_TIM4_Init(void)
{

  TIM_ClockConfigTypeDef sClockSourceConfig = {0};
  TIM_MasterConfigTypeDef sMasterConfig = {0};

  htim4.Instance = TIM4;
  htim4.Init.Prescaler = 4;
  htim4.Init.CounterMode = TIM_COUNTERMODE_UP;
  htim4.Init.Period = 12800;
  htim4.Init.ClockDivision = TIM_CLOCKDIVISION_DIV1;
  htim4.Init.AutoReloadPreload = TIM_AUTORELOAD_PRELOAD_DISABLE;
  if (HAL_TIM_Base_Init(&htim4) != HAL_OK)
  {
    Error_Handler();
  }
  sClockSourceConfig.ClockSource = TIM_CLOCKSOURCE_INTERNAL;
  if (HAL_TIM_ConfigClockSource(&htim4, &sClockSourceConfig) != HAL_OK)
  {
    Error_Handler();
  }
  sMasterConfig.MasterOutputTrigger = TIM_TRGO_RESET;
  sMasterConfig.MasterSlaveMode = TIM_MASTERSLAVEMODE_DISABLE;
  if (HAL_TIMEx_MasterConfigSynchronization(&htim4, &sMasterConfig) != HAL_OK)
  {
    Error_Handler();
  }

}

static void MX_USART1_UART_Init(void)
{

  huart1.Instance = USART1;
  huart1.Init.BaudRate = 115200;
  huart1.Init.WordLength = UART_WORDLENGTH_8B;
  huart1.Init.StopBits = UART_STOPBITS_1;
  huart1.Init.Parity = UART_PARITY_NONE;
  huart1.Init.Mode = UART_MODE_TX_RX;
  huart1.Init.HwFlowCtl = UART_HWCONTROL_NONE;
  huart1.Init.OverSampling = UART_OVERSAMPLING_16;
  if (HAL_UART_Init(&huart1) != HAL_OK)
  {
    Error_Handler();
  }

}

static void MX_DMA_Init(void)
{

  /* DMA controller clock enable */
  __HAL_RCC_DMA1_CLK_ENABLE();

  /* DMA interrupt init */
  /* DMA1_Channel1_IRQn interrupt configuration */
  HAL_NVIC_SetPriority(DMA1_Channel1_IRQn, 0, 0);
  HAL_NVIC_EnableIRQ(DMA1_Channel1_IRQn);

}

static void MX_GPIO_Init(void)
{
  GPIO_InitTypeDef GPIO_InitStruct = {0};

  /* GPIO Ports Clock Enable */
  __HAL_RCC_GPIOC_CLK_ENABLE();
  __HAL_RCC_GPIOD_CLK_ENABLE();
  __HAL_RCC_GPIOA_CLK_ENABLE();
  __HAL_RCC_GPIOB_CLK_ENABLE();

  /*Configure GPIO pin Output Level */
  HAL_GPIO_WritePin(LedBuidIn_GPIO_Port, LedBuidIn_Pin, GPIO_PIN_SET);

  /*Configure GPIO pin Output Level */
  HAL_GPIO_WritePin(GPIOA, GPIO_PIN_8, GPIO_PIN_RESET);

  /*Configure GPIO pin : LedBuidIn_Pin */
  GPIO_InitStruct.Pin = LedBuidIn_Pin;
  GPIO_InitStruct.Mode = GPIO_MODE_OUTPUT_PP;
  GPIO_InitStruct.Pull = GPIO_NOPULL;
  GPIO_InitStruct.Speed = GPIO_SPEED_FREQ_LOW;
  HAL_GPIO_Init(LedBuidIn_GPIO_Port, &GPIO_InitStruct);

  /*Configure GPIO pin : BTN_Pin */
  GPIO_InitStruct.Pin = BTN_Pin;
  GPIO_InitStruct.Mode = GPIO_MODE_INPUT;
  GPIO_InitStruct.Pull = GPIO_PULLUP;
  HAL_GPIO_Init(BTN_GPIO_Port, &GPIO_InitStruct);

  /*Configure GPIO pin : PA8 */
  GPIO_InitStruct.Pin = GPIO_PIN_8;
  GPIO_InitStruct.Mode = GPIO_MODE_OUTPUT_PP;
  GPIO_InitStruct.Pull = GPIO_NOPULL;
  GPIO_InitStruct.Speed = GPIO_SPEED_FREQ_LOW;
  HAL_GPIO_Init(GPIOA, &GPIO_InitStruct);

}

void Error_Handler(void)
{
  __disable_irq();
  while (1)
  {
  }
}
